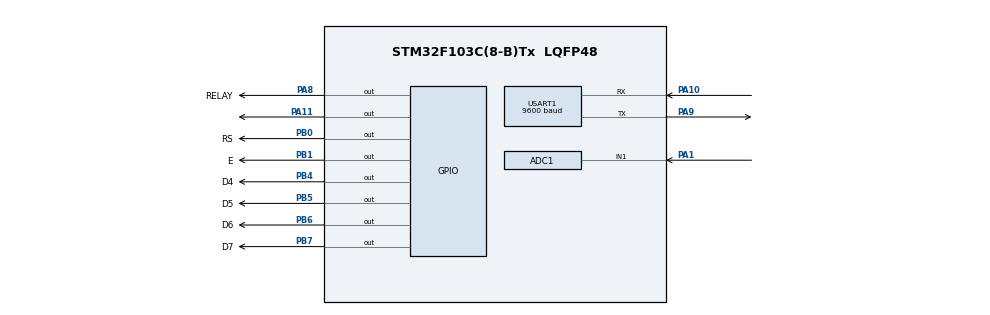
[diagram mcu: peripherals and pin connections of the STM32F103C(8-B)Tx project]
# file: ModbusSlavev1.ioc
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ADC1.Channel-1\#ChannelRegularConversion=ADC_CHANNEL_1
ADC1.NbrOfConversionFlag=1
ADC1.Rank-1\#ChannelRegularConversion=1
ADC1.SamplingTime-1\#ChannelRegularConversion=ADC_SAMPLETIME_239CYCLES_5
ADC1.master=1
Mcu.Family=STM32F1
Mcu.Name=STM32F103C(8-B)Tx
Mcu.Package=LQFP48
NVIC.ADC1_2_IRQn=true\:1\:0\:true\:false\:true\:true\:true\:true
NVIC.PriorityGroup=NVIC_PRIORITYGROUP_4
NVIC.USART1_IRQn=true\:0\:0\:false\:false\:true\:true\:true\:true
PA1.Signal=ADCx_IN1
PA10.Mode=Asynchronous
PA10.Signal=USART1_RX
PA11.Signal=GPIO_Output
PA13.Mode=Serial_Wire
PA13.Signal=SYS_JTMS-SWDIO
PA14.Mode=Serial_Wire
PA14.Signal=SYS_JTCK-SWCLK
PA8.GPIO_Label=RELAY
PA8.GPIO_Speed=GPIO_SPEED_FREQ_HIGH
PA8.Signal=GPIO_Output
PA9.Mode=Asynchronous
PA9.Signal=USART1_TX
PB0.GPIO_Label=RS
PB0.GPIO_Speed=GPIO_SPEED_FREQ_HIGH
PB0.PinState=GPIO_PIN_RESET
PB0.Signal=GPIO_Output
PB1.GPIO_Label=E
PB1.GPIO_Speed=GPIO_SPEED_FREQ_HIGH
PB1.PinState=GPIO_PIN_RESET
PB1.Signal=GPIO_Output
PB4.GPIO_Label=D4
PB4.GPIO_Speed=GPIO_SPEED_FREQ_HIGH
PB4.PinState=GPIO_PIN_RESET
PB4.Signal=GPIO_Output
PB5.GPIO_Label=D5
PB5.GPIO_Speed=GPIO_SPEED_FREQ_HIGH
PB5.PinState=GPIO_PIN_RESET
PB5.Signal=GPIO_Output
PB6.GPIO_Label=D6
PB6.GPIO_Speed=GPIO_SPEED_FREQ_HIGH
PB6.PinState=GPIO_PIN_RESET
PB6.Signal=GPIO_Output
PB7.GPIO_Label=D7
PB7.GPIO_Speed=GPIO_SPEED_FREQ_HIGH
PB7.PinState=GPIO_PIN_RESET
PB7.Signal=GPIO_Output
ProjectManager.HeapSize=0x200
ProjectManager.StackSize=0x400
ProjectManager.TargetToolchain=MDK-ARM V5.32
RCC.APB1Freq_Value=8000000
RCC.APB2Freq_Value=8000000
SH.ADCx_IN1.0=ADC1_IN1,IN1
USART1.BaudRate=9600
USART1.VirtualMode=VM_ASYNC
board=custom

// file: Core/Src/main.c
/* USER CODE BEGIN Header */
/**
  ******************************************************************************
  * @file           : main.c
  * @brief          : Main program body
  ******************************************************************************
  * @attention
  *
  * Copyright (c) 2023 STMicroelectronics.
  * All rights reserved.
  *
  * This software is licensed under terms that can be found in the LICENSE file
  * in the root directory of this software component.
  * If no LICENSE file comes with this software, it is provided AS-IS.
  *
  ******************************************************************************
  */
/* USER CODE END Header */
#include "main.h"

/* USER CODE BEGIN Includes */
#include <stdio.h>
#include <stdbool.h>
#include <string.h>
#include <stdint.h>
#include "lcd16x2.h"
/* USER CODE END Includes */

/* USER CODE BEGIN PD */
#define MODBUS_GENERATOR 0xA001
#define RESPONSE_TIMEOUT 5000
#define RX_BUFFER_SIZE 256
#define SLAVE_ID_ADDRESS 0x08008000
/* USER CODE END PD */

ADC_HandleTypeDef hadc1;

UART_HandleTypeDef huart1;

/* USER CODE BEGIN PV */
uint16_t MQ2;
uint16_t SensorValue;
int8_t X=120;
uint8_t RxBuffer[RX_BUFFER_SIZE];
uint16_t RxCount = 0;
uint8_t TxBuffer[RX_BUFFER_SIZE];
uint16_t TxCount = 0;
uint8_t SlaveID;
/* USER CODE END PV */

void SystemClock_Config(void);
static void MX_GPIO_Init(void);
static void MX_ADC1_Init(void);
static void MX_USART1_UART_Init(void);

/* USER CODE BEGIN 0 */
uint16_t ModbusCalcCRC(uint8_t *Frame, uint16_t LenFrame)
{
	uint16_t CntByte;
	uint16_t j;
	uint8_t bitVal;
	uint16_t CRCcalculate = 0xFFFF;
	for(CntByte=0;CntByte<LenFrame;CntByte++)
	{
		CRCcalculate ^= Frame[CntByte];
		for(j=0;j<8;j++)
		{
			bitVal = CRCcalculate & 0x0001;
			CRCcalculate = CRCcalculate >> 1;
			if(bitVal == 1)
				CRCcalculate ^= MODBUS_GENERATOR;
		}
	}
	return CRCcalculate;
}

void ResetBuffers(void)
{
	RxCount = 0;
	TxCount = 0;
	memset(RxBuffer, 0, RX_BUFFER_SIZE);
	memset(TxBuffer, 0, RX_BUFFER_SIZE);
}

void HAL_UARTEx_RxEventCallback(UART_HandleTypeDef *huart, uint16_t Size)
{
	if (huart == &huart1)
	{
		RxCount = Size;
		HAL_UARTEx_ReceiveToIdle_IT(&huart1, RxBuffer, RX_BUFFER_SIZE);
	}
}

void HAL_ADC_ConvCpltCallback(ADC_HandleTypeDef* hadc)
{
	if(hadc->Instance == ADC1)
	{
		MQ2 = HAL_ADC_GetValue(&hadc1)*10000/4095;
		//SensorValue = MQ2/4095*10000;
	}
}

void WriteSlaveIDToMemory(uint16_t *slaveID)
{
	HAL_FLASH_Unlock(); // M? khóa Flash tru?c khi ghi
	HAL_FLASH_Program(FLASH_TYPEPROGRAM_HALFWORD, SLAVE_ID_ADDRESS, *slaveID);
	HAL_FLASH_Lock(); // Khóa Flash sau khi ghi
}
/*
bool isSlaveAddressValid(uint16_t Value)
{
	if (Value >= 0x0001 && Value <= 0x00F7)
	{
		return true;
	}
	else
	{
		return false;
	}
}
*/
void Frame_erro(uint8_t Data_Erro)
{
	TxBuffer[0] = SlaveID;
	TxBuffer[1] = RxBuffer[1] + 0x80;
	TxBuffer[2] = Data_Erro;
	uint16_t Response_CRC = ModbusCalcCRC(TxBuffer, 3);
	TxBuffer[3] = 0x00 | Response_CRC;
	TxBuffer[4] = Response_CRC >> 8;
	HAL_UART_Transmit(&huart1, TxBuffer, 5, HAL_MAX_DELAY);
	ResetBuffers();
	HAL_UARTEx_ReceiveToIdle_IT(&huart1, RxBuffer, RX_BUFFER_SIZE);
}
/* USER CODE END 0 */

int main(void)
{

  /* MCU Configuration--------------------------------------------------------*/

  /* Reset of all peripherals, Initializes the Flash interface and the Systick. */
  HAL_Init();

  /* Configure the system clock */
  SystemClock_Config();

  /* Initialize all configured peripherals */
  MX_GPIO_Init();
  MX_ADC1_Init();
  MX_USART1_UART_Init();
  /* USER CODE BEGIN 2 */
	lcd16x2_init_4bits(GPIOB, RS_Pin, E_Pin, GPIOB, D4_Pin, D5_Pin, D6_Pin, D7_Pin);
	HAL_UARTEx_ReceiveToIdle_IT(&huart1, RxBuffer, RX_BUFFER_SIZE);
	HAL_ADC_Start_IT(&hadc1);
  /* USER CODE END 2 */

  /* Infinite loop */
  /* USER CODE BEGIN WHILE */
  while (1)
  {
		HAL_ADC_Start_IT(&hadc1);
		HAL_Delay(200);
		lcd16x2_1stLine();
		lcd16x2_printf("MQ2: %d ppm", MQ2);
		if(MQ2 > 4000)
		{
			HAL_GPIO_TogglePin(GPIOA, GPIO_PIN_11);
		}
		else HAL_GPIO_WritePin(GPIOA, GPIO_PIN_11, GPIO_PIN_RESET);
		if (SlaveID == 0)
		{
		// N?u không có giá tr? luu tr?, gán giá tr? m?c d?nh và luu tr? nó
				 SlaveID = 0x0006;
				 WriteSlaveIDToMemory(&SlaveID);
		}
		if (RxCount >= 1)
		{
			uint16_t RequestCRC;
			RequestCRC = (RxBuffer[RxCount - 1] << 8) | RxBuffer[RxCount-2];
			uint16_t CRCCalc = ModbusCalcCRC(RxBuffer, RxCount - 2);
			if (RequestCRC == CRCCalc)
			{
				if (RxBuffer[0] == SlaveID)
				{
					if (RxBuffer[1] == 0x03)
					{
						uint16_t Data_address;
						Data_address = (RxBuffer[2] << 8) | RxBuffer[3];
						if (Data_address == 0x0001)
						{
							uint16_t Data_value;
							Data_value = (RxBuffer[4] << 8) | RxBuffer[5];
							if (Data_value == 0x0001)
							{
								TxBuffer[0] = SlaveID;
								TxBuffer[1] = RxBuffer[1];
								TxCount = 2;
								TxBuffer[2] = TxCount;
								TxBuffer[3] = 0x00;
								TxBuffer[4] = SlaveID;
								uint16_t Response_CRC = ModbusCalcCRC(TxBuffer, 5);
								TxBuffer[5] = 0x00 | Response_CRC;
								TxBuffer[6] = Response_CRC >> 8 ;
								HAL_UART_Transmit(&huart1, TxBuffer, 7, HAL_MAX_DELAY);
								ResetBuffers();
								HAL_UARTEx_ReceiveToIdle_IT(&huart1, RxBuffer, RX_BUFFER_SIZE);
							}
							else
							{
								Frame_erro(0x03);
							}
						}
						else if (Data_address == 0x0011)
						{
							uint16_t Data_value;
							Data_value = (RxBuffer[4] << 8) | RxBuffer[5];
							if (Data_value == 0x0001)
							{
								//HAL_ADC_Start_IT(&hadc1);
								TxCount = 2;
								TxBuffer[0] = SlaveID;
								TxBuffer[1] = RxBuffer[1];
								TxBuffer[2] = TxCount;
								TxBuffer[3] = MQ2 >> 8;
								TxBuffer[4] = MQ2 & 0xFF;
								uint16_t Response_CRC = ModbusCalcCRC(TxBuffer, 5);
								TxBuffer[5] = 0x00 | Response_CRC;
								TxBuffer[6] = Response_CRC >> 8 ;
								HAL_UART_Transmit(&huart1, TxBuffer, 7, HAL_MAX_DELAY);
								ResetBuffers();
								HAL_UARTEx_ReceiveToIdle_IT(&huart1, RxBuffer, RX_BUFFER_SIZE);
							}
							else
							{
								Frame_erro(0x03);
							}
						}
						else if (Data_address == 0x0112)
						{
							uint16_t Data_value;
							Data_value = (RxBuffer[4] << 8) | RxBuffer[5];
							if (Data_value == 0x0001)
							{
								uint16_t Relay_state = HAL_GPIO_ReadPin(GPIOA, GPIO_PIN_8);
								TxCount = 2;
								TxBuffer[0] = SlaveID;
								TxBuffer[1] = RxBuffer[1];
								TxBuffer[2] = TxCount;
								TxBuffer[3] = Relay_state >> 8;
								TxBuffer[4] = Relay_state & 0xFF;
								uint16_t Response_CRC = ModbusCalcCRC(TxBuffer, 5);
								TxBuffer[5] = 0x00 | Response_CRC;
								TxBuffer[6] = Response_CRC >> 8 ;
								HAL_UART_Transmit(&huart1, TxBuffer, 7, HAL_MAX_DELAY);
								ResetBuffers();
								HAL_UARTEx_ReceiveToIdle_IT(&huart1, RxBuffer, RX_BUFFER_SIZE);
							}
							else
							{
								Frame_erro(0x03);
							}
						}
						else
						{
							Frame_erro(0x02);
						}
					}
					else if (RxBuffer[1] == 0x06)
					{
						uint16_t Data_address;
						Data_address = (RxBuffer[2] << 8) | RxBuffer[3];
						if (Data_address == 0x0001)
						{
							uint16_t Data_value;
							Data_value = (RxBuffer[4] << 8) | RxBuffer[5];
							if (Data_value >= 0x0001 && Data_value <= 0x00F7)
							{
								for (uint8_t i = 0; i < RxCount; i++)
								{
									TxBuffer[i] = RxBuffer[i];
								}
								 // Luu tr? giá tr? m?i c?a SlaveID vào b? nh?
								HAL_UART_Transmit(&huart1, TxBuffer, 8, HAL_MAX_DELAY);
								WriteSlaveIDToMemory(&Data_value);
								ResetBuffers();
								HAL_UARTEx_ReceiveToIdle_IT(&huart1, RxBuffer, RX_BUFFER_SIZE);
							}
							else
							{
								Frame_erro(0x03);
							}
						}
						if (Data_address == 0x0112)
						{
							uint16_t Data_value;
							Data_value = (RxBuffer[4] << 8) | RxBuffer[5];
							if (Data_value == 0x0001)
							{
								HAL_GPIO_WritePin(RELAY_GPIO_Port, RELAY_Pin, GPIO_PIN_SET);
								for (uint8_t i = 0; i < RxCount; i++)
								{
									TxBuffer[i] = RxBuffer[i];
								}
								/*TxBuffer[0] = SlaveID;
								TxBuffer[1] = RxBuffer[1];
								TxBuffer[2] = TxCount;
								TxBuffer[3] = Data_value >> 8;
								TxBuffer[4] = Data_value & 0xFF;
								uint16_t Response_CRC = ModbusCalcCRC(TxBuffer, 5);
								TxBuffer[5] = 0x00 | Response_CRC;
								TxBuffer[6] = Response_CRC >> 8 ;*/
								HAL_UART_Transmit(&huart1, TxBuffer, RxCount, HAL_MAX_DELAY);
								ResetBuffers();
								HAL_UARTEx_ReceiveToIdle_IT(&huart1, RxBuffer, RX_BUFFER_SIZE);
							}
							else if (Data_value == 0x0000)
							{
								HAL_GPIO_WritePin(RELAY_GPIO_Port, RELAY_Pin, GPIO_PIN_RESET);
								for (uint8_t i = 0; i < RxCount; i++)
								{
									TxBuffer[i] = RxBuffer[i];
								}
								/*TxBuffer[0] = SlaveID;
								TxBuffer[1] = RxBuffer[1];
								TxBuffer[2] = TxCount;
								TxBuffer[3] = Data_value >> 8;
								TxBuffer[4] = Data_value & 0xFF;
								uint16_t Response_CRC = ModbusCalcCRC(TxBuffer, 5);
								TxBuffer[5] = 0x00 | Response_CRC;
								TxBuffer[6] = Response_CRC >> 8 ;*/
								HAL_UART_Transmit(&huart1, TxBuffer, RxCount, HAL_MAX_DELAY);
								ResetBuffers();
								HAL_UARTEx_ReceiveToIdle_IT(&huart1, RxBuffer, RX_BUFFER_SIZE);
							}
							else
							{
								Frame_erro(0x03);
							}
						}
						else
						{
							Frame_erro(0x02);
						}
					}
					else
					{
						Frame_erro(0x01);
					}
				}
				else
				{
					ResetBuffers();
					HAL_UARTEx_ReceiveToIdle_IT(&huart1, RxBuffer, RX_BUFFER_SIZE);
				}
			}
			else
			{
				ResetBuffers();
				HAL_UARTEx_ReceiveToIdle_IT(&huart1, RxBuffer, RX_BUFFER_SIZE);
			}
		}
    /* USER CODE END WHILE */

  }
}

void SystemClock_Config(void)
{
  RCC_OscInitTypeDef RCC_OscInitStruct = {0};
  RCC_ClkInitTypeDef RCC_ClkInitStruct = {0};
  RCC_PeriphCLKInitTypeDef PeriphClkInit = {0};

  /** Initializes the RCC Oscillators according to the specified parameters
  * in the RCC_OscInitTypeDef structure.
  */
  RCC_OscInitStruct.OscillatorType = RCC_OSCILLATORTYPE_HSI;
  RCC_OscInitStruct.HSIState = RCC_HSI_ON;
  RCC_OscInitStruct.HSICalibrationValue = RCC_HSICALIBRATION_DEFAULT;
  RCC_OscInitStruct.PLL.PLLState = RCC_PLL_NONE;
  if (HAL_RCC_OscConfig(&RCC_OscInitStruct) != HAL_OK)
  {
    Error_Handler();
  }

  /** Initializes the CPU, AHB and APB buses clocks
  */
  RCC_ClkInitStruct.ClockType = RCC_CLOCKTYPE_HCLK|RCC_CLOCKTYPE_SYSCLK
                              |RCC_CLOCKTYPE_PCLK1|RCC_CLOCKTYPE_PCLK2;
  RCC_ClkInitStruct.SYSCLKSource = RCC_SYSCLKSOURCE_HSI;
  RCC_ClkInitStruct.AHBCLKDivider = RCC_SYSCLK_DIV1;
  RCC_ClkInitStruct.APB1CLKDivider = RCC_HCLK_DIV1;
  RCC_ClkInitStruct.APB2CLKDivider = RCC_HCLK_DIV1;

  if (HAL_RCC_ClockConfig(&RCC_ClkInitStruct, FLASH_LATENCY_0) != HAL_OK)
  {
    Error_Handler();
  }
  PeriphClkInit.PeriphClockSelection = RCC_PERIPHCLK_ADC;
  PeriphClkInit.AdcClockSelection = RCC_ADCPCLK2_DIV2;
  if (HAL_RCCEx_PeriphCLKConfig(&PeriphClkInit) != HAL_OK)
  {
    Error_Handler();
  }
}

static void MX_ADC1_Init(void)
{

  ADC_ChannelConfTypeDef sConfig = {0};

  /** Common config
  */
  hadc1.Instance = ADC1;
  hadc1.Init.ScanConvMode = ADC_SCAN_DISABLE;
  hadc1.Init.ContinuousConvMode = DISABLE;
  hadc1.Init.DiscontinuousConvMode = DISABLE;
  hadc1.Init.ExternalTrigConv = ADC_SOFTWARE_START;
  hadc1.Init.DataAlign = ADC_DATAALIGN_RIGHT;
  hadc1.Init.NbrOfConversion = 1;
  if (HAL_ADC_Init(&hadc1) != HAL_OK)
  {
    Error_Handler();
  }

  /** Configure Regular Channel
  */
  sConfig.Channel = ADC_CHANNEL_1;
  sConfig.Rank = ADC_REGULAR_RANK_1;
  sConfig.SamplingTime = ADC_SAMPLETIME_239CYCLES_5;
  if (HAL_ADC_ConfigChannel(&hadc1, &sConfig) != HAL_OK)
  {
    Error_Handler();
  }

}

static void MX_USART1_UART_Init(void)
{

  huart1.Instance = USART1;
  huart1.Init.BaudRate = 9600;
  huart1.Init.WordLength = UART_WORDLENGTH_8B;
  huart1.Init.StopBits = UART_STOPBITS_1;
  huart1.Init.Parity = UART_PARITY_NONE;
  huart1.Init.Mode = UART_MODE_TX_RX;
  huart1.Init.HwFlowCtl = UART_HWCONTROL_NONE;
  huart1.Init.OverSampling = UART_OVERSAMPLING_16;
  if (HAL_UART_Init(&huart1) != HAL_OK)
  {
    Error_Handler();
  }

}

static void MX_GPIO_Init(void)
{
  GPIO_InitTypeDef GPIO_InitStruct = {0};

  /* GPIO Ports Clock Enable */
  __HAL_RCC_GPIOA_CLK_ENABLE();
  __HAL_RCC_GPIOB_CLK_ENABLE();

  /*Configure GPIO pin Output Level */
  HAL_GPIO_WritePin(GPIOB, RS_Pin|E_Pin|D4_Pin|D5_Pin
                          |D6_Pin|D7_Pin, GPIO_PIN_RESET);

  /*Configure GPIO pin Output Level */
  HAL_GPIO_WritePin(GPIOA, RELAY_Pin|GPIO_PIN_11, GPIO_PIN_RESET);

  /*Configure GPIO pins : RS_Pin E_Pin D4_Pin D5_Pin
                           D6_Pin D7_Pin */
  GPIO_InitStruct.Pin = RS_Pin|E_Pin|D4_Pin|D5_Pin
                          |D6_Pin|D7_Pin;
  GPIO_InitStruct.Mode = GPIO_MODE_OUTPUT_PP;
  GPIO_InitStruct.Pull = GPIO_NOPULL;
  GPIO_InitStruct.Speed = GPIO_SPEED_FREQ_HIGH;
  HAL_GPIO_Init(GPIOB, &GPIO_InitStruct);

  /*Configure GPIO pin : RELAY_Pin */
  GPIO_InitStruct.Pin = RELAY_Pin;
  GPIO_InitStruct.Mode = GPIO_MODE_OUTPUT_PP;
  GPIO_InitStruct.Pull = GPIO_NOPULL;
  GPIO_InitStruct.Speed = GPIO_SPEED_FREQ_HIGH;
  HAL_GPIO_Init(RELAY_GPIO_Port, &GPIO_InitStruct);

  /*Configure GPIO pin : PA11 */
  GPIO_InitStruct.Pin = GPIO_PIN_11;
  GPIO_InitStruct.Mode = GPIO_MODE_OUTPUT_PP;
  GPIO_InitStruct.Pull = GPIO_NOPULL;
  GPIO_InitStruct.Speed = GPIO_SPEED_FREQ_LOW;
  HAL_GPIO_Init(GPIOA, &GPIO_InitStruct);

}

void Error_Handler(void)
{
  __disable_irq();
  while (1)
  {
  }
}
